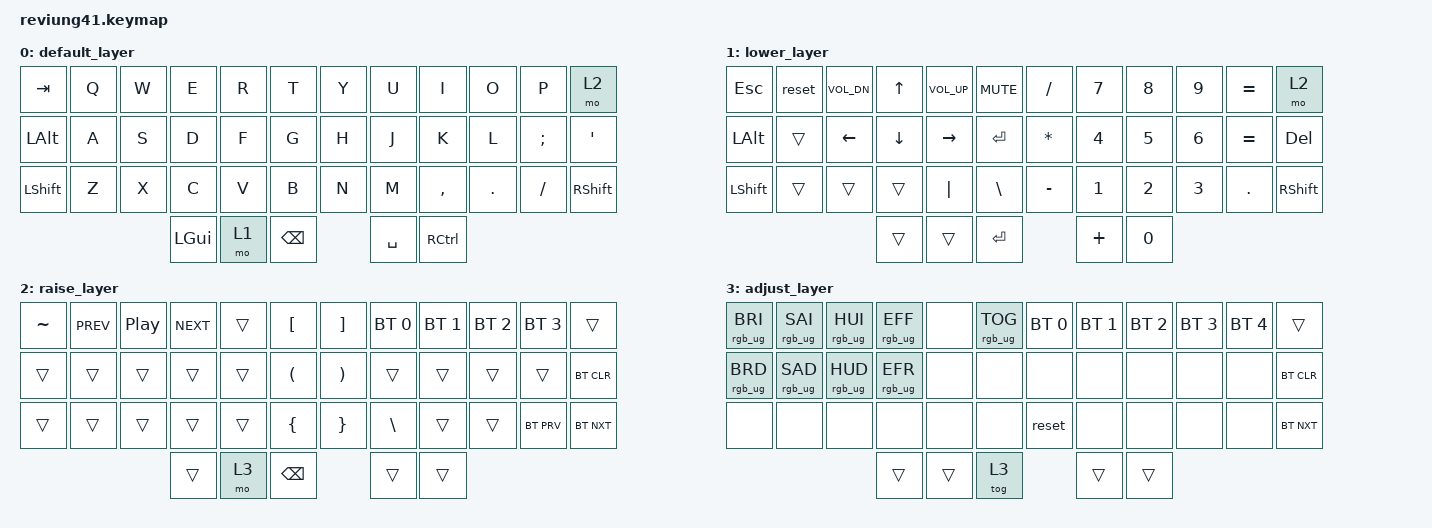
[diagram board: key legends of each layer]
/*
 * Copyright (c) 2020 The ZMK Contributors
 *
 * SPDX-License-Identifier: MIT
 */

#include <behaviors.dtsi>
#include <dt-bindings/zmk/keys.h>
#include <dt-bindings/zmk/bt.h>
#include <dt-bindings/zmk/rgb.h>

#define DEFAULT 0
#define LOWER   1
#define RAISE   2

/ {
        keymap {
                compatible = "zmk,keymap";

                default_layer {
// -------------------------------------------------------------------------------------
// | TAB  |  Q  |  W  |  E  |  R  |  T  |   |  Y  |  U   |  I  |  O  |  P  | RSE  |
// | ALT  |  A  |  S  |  D  |  F  |  G  |   |  H  |  J   |  K  |  L  |  ;  |  '   |
// | SHFT |  Z  |  X  |  C  |  V  |  B  |   |  N  |  M   |  ,  |  .  |  /  | SHFT |
//                         | GUI | LWR | BSPC | SPC  | CTRL |
                        bindings = <
   &kp TAB   &kp Q &kp W &kp E &kp R &kp T   &kp Y &kp U  &kp I     &kp O   &kp P    &mo 2
   &kp LALT &kp A &kp S &kp D &kp F &kp G   &kp H &kp J  &kp K     &kp L   &kp SEMI &kp SQT
   &kp LSHFT &kp Z &kp X &kp C &kp V &kp B   &kp N &kp M  &kp COMMA &kp DOT &kp FSLH &kp RSHFT
                        &kp LGUI  &mo 1 &kp BSPC &kp SPACE  &kp RCTRL
                        >;
                };

                lower_layer {
// ----------------------------------------------------------------------------------
// |  ESC  |  RST | VOLDN |  UP  | VOLUP |  MUTE  |   |  /  |  7  |  8  |  9  |  =  |  DEL |
// |  ALT  |      | LEFT  | DOWN | RIGHT |  ENT   |   |  *  |  4  |  5  |  6  |  =  |      |
// |  SHFT |      |       |      |       |        |   |  -  |  1  |  2  |  3  |  .  | SHFT |
//                            |     |     | RET | + |  0  |
                        bindings = <
   &kp ESC   &reset  &kp C_VOL_DN  &kp UP    &kp C_VOL_UP &kp C_MUTE     &kp SLASH  &kp N7  &kp N8  &kp N9  &kp EQUAL  &mo 2
   &kp LALT  &trans  &kp LEFT      &kp DOWN  &kp RIGHT    &kp RET        &kp STAR   &kp N4  &kp N5  &kp N6  &kp EQUAL &kp DEL
   &kp LSHFT &trans  &trans        &trans    &kp PIPE     &kp BSLH       &kp MINUS  &kp N1  &kp N2  &kp N3  &kp DOT &kp RSHFT
                                       &trans      &trans       &kp RET        &kp PLUS       &kp N0
                        >;
                };

                raise_layer {
// -----------------------------------------------------------------------------------------
// |  ~  | PREV| PLAY | NEXT|     |  [  |   |  ]  | BT0  | BT1 | BT2 |  BT3   |        |
// |     |     |      |     |     |  (  |   |  )  |      |     |     |        | BT_CLR |
// |     |     |      |     |     |  {  |   |  }  | BSLH |     |     | BT_PRV | BT_NXT |
//                       |     | ADJ | BKSP |    |     |
                        bindings = <
   &kp TILDE  &kp C_PREV  &kp C_PP  &kp C_NEXT  &trans  &kp LBKT       &kp RBKT    &bt BT_SEL 0    &bt BT_SEL 1    &bt BT_SEL 2    &bt BT_SEL 3    &trans
   &trans  &trans  &trans  &trans  &trans  &kp LPAR       &kp RPAR    &trans    &trans    &trans    &trans    &bt BT_CLR
   &trans  &trans  &trans  &trans  &trans  &kp LBRC       &kp RBRC    &kp BSLH    &trans    &trans    &bt BT_PRV    &bt BT_NXT
                                &trans      &mo 3       &kp BSPC        &trans      &trans
                        >;
                };

                adjust_layer {
// -----------------------------------------------------------------------------------------
// | RGB BRI+ | RGB SAT+ | RGB HUE+ | RGB ANI+ |    | RGB TOG |   |  BT1  | BT2 | BT3 | BT4 | BT5 | BT CLR |
// | RGB BRI- | RGB SAT- | RGB HUE- | RGB ANI- |    |         |   |       |     |     |     |     |        |
// |          |          |          |          |    |         |   | RESET |     |     |     |     |        |
//                                              |     |     |     |     |     |
                        bindings = <
   &rgb_ug RGB_BRI &rgb_ug RGB_SAI &rgb_ug RGB_HUI &rgb_ug RGB_EFF &none &rgb_ug RGB_TOG    &bt BT_SEL 0 &bt BT_SEL 1 &bt BT_SEL 2 &bt BT_SEL 3 &bt BT_SEL 4 &trans
   &rgb_ug RGB_BRD &rgb_ug RGB_SAD &rgb_ug RGB_HUD &rgb_ug RGB_EFR &none &none              &none        &none        &none        &none        &none        &bt BT_CLR
   &none           &none           &none           &none           &none &none              &reset       &none        &none        &none        &none        &bt BT_NXT
                                                             &trans      &trans       &tog 3        &trans      &trans
                        >;
                };
        };
};
